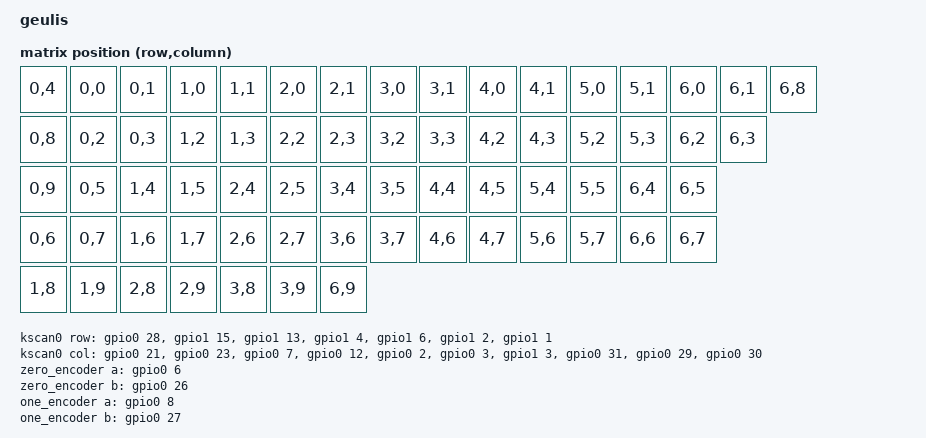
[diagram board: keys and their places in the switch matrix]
/*
 * Copyright (c) 2020 The ZMK Contributors
 *
 * SPDX-License-Identifier: MIT
 */

/dts-v1/;
#include <nordic/nrf52840_qiaa.dtsi>
#include <dt-bindings/zmk/matrix_transform.h>

/ {
	model = "geulis";
	compatible = "karnadii,geulis";

	chosen {
		zephyr,code-partition = &code_partition;
		zephyr,sram = &sram0;
		zephyr,flash = &flash0;
        zmk,kscan = &kscan0;
        zmk,matrix_transform = &default_transform;
		zmk,underglow = &led_strip;
	};

     kscan0: kscan {
        compatible = "zmk,kscan-gpio-matrix";
        label = "KSCAN";

        diode-direction = "col2row";
        col-gpios
            = <&gpio0 21 GPIO_ACTIVE_HIGH >
            , <&gpio0 23 GPIO_ACTIVE_HIGH >
            , <&gpio0 7 GPIO_ACTIVE_HIGH >
            , <&gpio0 12 GPIO_ACTIVE_HIGH >
            , <&gpio0 2 GPIO_ACTIVE_HIGH >
            , <&gpio0 3 GPIO_ACTIVE_HIGH >
            , <&gpio1 3 GPIO_ACTIVE_HIGH >
            , <&gpio0 31 GPIO_ACTIVE_HIGH >
            , <&gpio0 29 GPIO_ACTIVE_HIGH >
            , <&gpio0 30 GPIO_ACTIVE_HIGH >
            ;
		
		row-gpios
            = <&gpio0 28 (GPIO_ACTIVE_HIGH | GPIO_PULL_DOWN)>
            , <&gpio1 15 (GPIO_ACTIVE_HIGH | GPIO_PULL_DOWN)>
            , <&gpio1 13 (GPIO_ACTIVE_HIGH | GPIO_PULL_DOWN)>
            , <&gpio1 4  (GPIO_ACTIVE_HIGH | GPIO_PULL_DOWN)>
            , <&gpio1 6  (GPIO_ACTIVE_HIGH | GPIO_PULL_DOWN)>
            , <&gpio1 2  (GPIO_ACTIVE_HIGH | GPIO_PULL_DOWN)>
            , <&gpio1 1  (GPIO_ACTIVE_HIGH | GPIO_PULL_DOWN)>
            ;
        
    };

    default_transform: keymap_transform_0 {
        compatible = "zmk,matrix-transform";
        columns = <10>;
        rows = <7>;

        map = <
			RC(0,4) RC(0,0) RC(0,1) RC(1,0) RC(1,1) RC(2,0) RC(2,1) RC(3,0) RC(3,1) RC(4,0) RC(4,1) RC(5,0) RC(5,1) RC(6,0) RC(6,1) RC(6,8)
			RC(0,8) RC(0,2) RC(0,3) RC(1,2) RC(1,3) RC(2,2) RC(2,3) RC(3,2) RC(3,3) RC(4,2) RC(4,3) RC(5,2) RC(5,3) RC(6,2) RC(6,3)
			RC(0,9) RC(0,5) RC(1,4) RC(1,5) RC(2,4) RC(2,5) RC(3,4) RC(3,5) RC(4,4) RC(4,5) RC(5,4) RC(5,5) RC(6,4) RC(6,5)
			RC(0,6) RC(0,7) RC(1,6) RC(1,7) RC(2,6) RC(2,7) RC(3,6) RC(3,7) RC(4,6) RC(4,7) RC(5,6) RC(5,7) RC(6,6) RC(6,7)
			RC(1,8) RC(1,9) RC(2,8) RC(2,9) RC(3,8) RC(3,9) RC(6,9)
        >;
    };
    
    zero_encoder: encoder_zero {
        compatible = "apls,ec11";
        label = "ENCODER_ZERO";
        a-gpios = <&gpio0 6 (GPIO_ACTIVE_HIGH | GPIO_PULL_UP)>;
        b-gpios = <&gpio0 26 (GPIO_ACTIVE_HIGH | GPIO_PULL_UP)>;
        resolution = <4>;
        status = "disabled";
    };

    one_encoder: encoder_one {
        compatible = "apls,ec11";
        label = "ENCODER_ONE";
        a-gpios = <&gpio0 8 (GPIO_ACTIVE_HIGH | GPIO_PULL_UP)>;
        b-gpios = <&gpio0 27 (GPIO_ACTIVE_HIGH | GPIO_PULL_UP)>;
        resolution = <4>;
        status = "disabled";
    };
    two_encoder: encoder_two {
        compatible = "apls,ec11";
        label = "ENCODER_TWO";
        a-gpios = <&gpio1 8 (GPIO_ACTIVE_HIGH | GPIO_PULL_UP)>;
        b-gpios = <&gpio0 11 (GPIO_ACTIVE_HIGH | GPIO_PULL_UP)>;
        resolution = <4>;
        status = "disabled";
    };

	leds {
		compatible = "gpio-leds";
		blue_led: led_0 {
			gpios = <&gpio1 10 GPIO_ACTIVE_HIGH>;
			label = "Blue LED";
		};
        green_led: led_1 {
			gpios = <&gpio1 11 GPIO_ACTIVE_HIGH>;
			label = "Green LED";
		};
	};

	ext-power {
		compatible = "zmk,ext-power-generic";
		label = "EXT_POWER";
		control-gpios = <&gpio1 9 GPIO_ACTIVE_LOW>;
		init-delay-ms = <100>;
	};

	vbatt {
		compatible = "zmk,battery-voltage-divider";
		label = "BATTERY";
		io-channels = <&adc 2>;
		output-ohms = <2000000>;
		full-ohms = <(2000000 + 820000)>;
	};
};


&adc {
	status = "okay";
};

&gpiote {
	status = "okay";
};

&gpio0 {
	status = "okay";
};

&gpio1 {
	status = "okay";
};

&i2c0 {
	compatible = "nordic,nrf-twi";
	sda-pin = <15>;
	scl-pin = <17>;
    status = "okay";

	oled: ssd1306@3c {
		compatible = "solomon,ssd1306fb";
		reg = <0x3c>;
		label = "DISPLAY";
		width = <128>;
		height = <32>;
		segment-offset = <0>;
		page-offset = <0>;
		display-offset = <0>;
		multiplex-ratio = <31>;
		segment-remap;
		com-invdir;
		com-sequential;
		prechargep = <0x22>;
	};
};

&spi0 {
	compatible = "nordic,nrf-spim";
	/* Cannot be used together with i2c0. */
	status = "okay";
	sck-pin = <32>;
	mosi-pin = <16>;
	miso-pin = <13>;

	led_strip: ws2812@0 {
		compatible = "worldsemi,ws2812-spi";
		label = "WS2812";

		/* SPI */
		reg = <0>; /* ignored, but necessary for SPI bindings */
		spi-max-frequency = <4000000>;

		/* WS2812 */
		chain-length = <18>; /* LED strip length */
		spi-one-frame = <0x70>;
		spi-zero-frame = <0x40>;
	};
};

&uart0 {
	compatible = "nordic,nrf-uarte";
	tx-pin = <19>;
	rx-pin = <25>;
};

&usbd {
	status = "okay";
};


&flash0 {
	/*
	 * For more information, see:
	 * http://docs.zephyrproject.org/latest/devices/dts/flash_partitions.html
	 */
	partitions {
		compatible = "fixed-partitions";
		#address-cells = <1>;
		#size-cells = <1>;

		sd_partition: partition@0 {
			label = "mbr";
			reg = <0x00000000 0x00001000>;
		};
		code_partition: partition@1000 {
			label = "code_partition";
			reg = <0x00001000 0x000d3000>;
		};

		storage_partition: partition@d4000 {
			label = "storage";
			reg = <0x000d4000 0x00020000>;
		};

		boot_partition: partition@f4000 {
			label = "adafruit_boot";
			reg = <0x000f4000 0x0000c000>;
		};
	};
};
